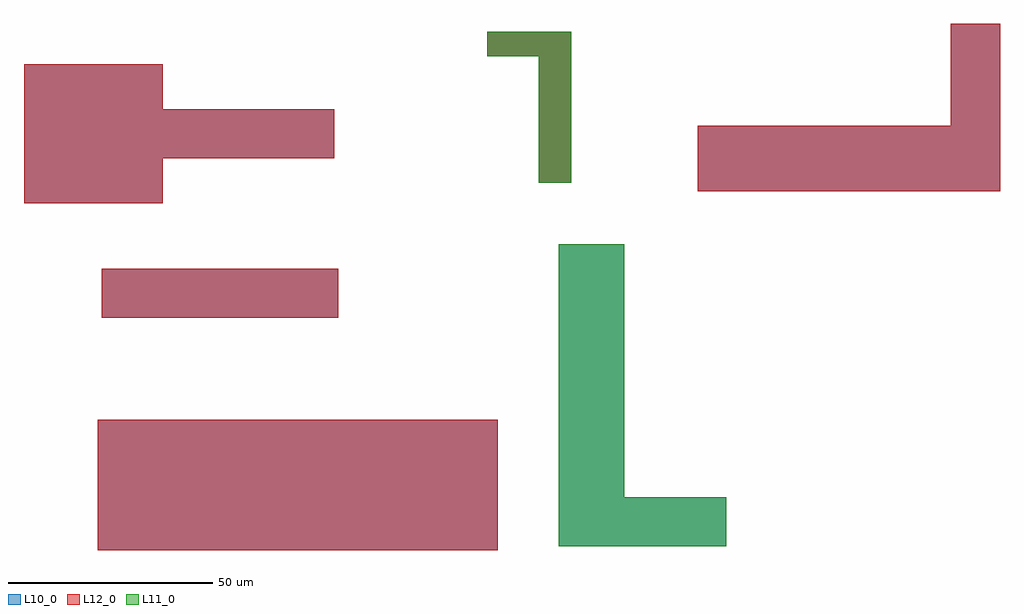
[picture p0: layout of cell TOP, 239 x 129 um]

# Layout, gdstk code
from math import pi, radians
import gdstk
lib = gdstk.Library(unit=1e-6, precision=1e-09)
def R(c, l, rs):  # rectangles x0, y0, x1, y1
    for r in rs: c.add(gdstk.rectangle(r[:2], r[2:], *l))
def P(c, l, *ps):  # polygons
    for p in ps: c.add(gdstk.Polygon(p, *l))
L10_0 = (10, 0)
L11_0 = (11, 0)
L12_0 = (12, 0)

c_a = lib.new_cell('A')
R(c_a, L10_0, [(0,-12,58,0)])

c_b = lib.new_cell('B')
R(c_b, L10_0, [(12,-17,20,20), (-0.5,14,20,20)])
P(c_b, L11_0, [(12,-17),(12,14),(-0.5,14),(-0.5,20),(20,20),(20,-17)])
P(c_b, L12_0, [(12,-17),(12,14),(-0.5,14),(-0.5,20),(20,20),(20,-17)])

b_var1_var1 = lib.new_cell('B$VAR1$VAR1')
R(b_var1_var1, L10_0, [(12,-17,20,20), (-0.5,14,20,20)])
P(b_var1_var1, L12_0, [(12,-17),(12,14),(-0.5,14),(-0.5,20),(20,20),(20,-17)])

c_c = lib.new_cell('C')
c_c.add(gdstk.Reference(b_var1_var1, (14,28), rotation=pi))

b_var1 = lib.new_cell('B$VAR1')
R(b_var1, L10_0, [(12,-17,20,20), (-0.5,14,20,20)])
P(b_var1, L11_0, [(12,-17),(12,14),(-0.5,14),(-0.5,20),(20,20),(20,-17)])

top = lib.new_cell('TOP')
R(top, L10_0, [(-11,-15,23,19)])
R(top, L12_0, [(7,-100,105,-68), (8,-43,66,-31)])
P(top, L12_0, [(-11,-15),(-11,19),(23,19),(23,8),(65,8),(65,-4),(23,-4),(23,-15)])
top.add(gdstk.Reference(c_a, (7,8)))
top.add(gdstk.Reference(c_a, (8,-31)))
r = gdstk.Reference(c_a, (7,-88)); r.repetition = gdstk.Repetition(2, 5, v1=(40,0), v2=(0,5)); top.add(r)
top.add(gdstk.Reference(c_b, (103,7)))
top.add(gdstk.Reference(c_c, (244,0), rotation=pi/2, magnification=2))
top.add(gdstk.Reference(b_var1, (160,-59), rotation=pi, magnification=2))

lib.write_gds('TOP.gds')
